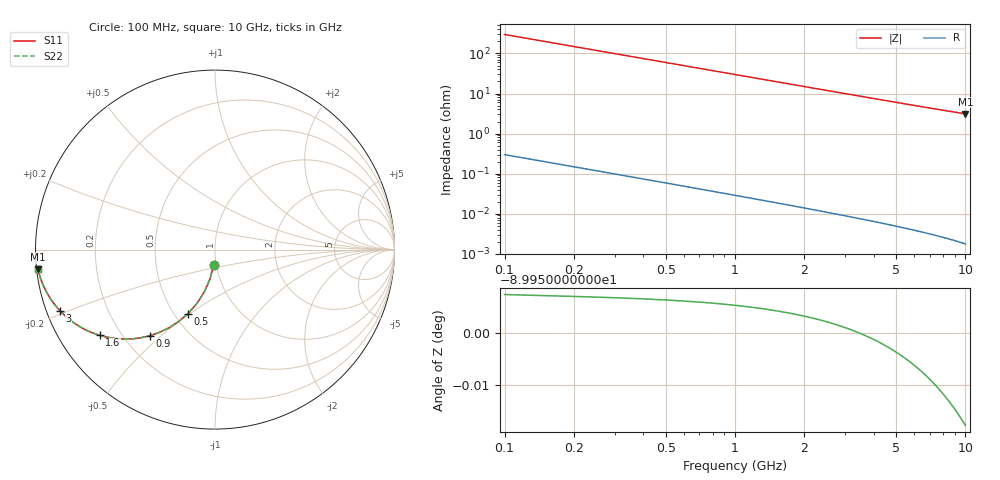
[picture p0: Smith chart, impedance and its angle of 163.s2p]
# Hz S RI R 50.00
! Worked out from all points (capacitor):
!   100 points, 100 MHz to 10 GHz, reference 50 ohm
!   read as one part in shunt: C = 5.34 pF near 100 MHz
!   lowest |Z| = 3.11 ohm at 10 GHz (marker M1)
!   S11 on the Smith chart (normalised r, x): 100 MHz: 0.97, -0.16; 500 MHz: 0.59, -0.49; 900 MHz: 0.31, -0.46; 1.6 GHz: 0.12, -0.33; 3 GHz: 0.04, -0.19; 10 GHz: 0.00, -0.06
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1e8  -0.00701 -0.0832  0.9929 -0.0833  0.9929 -0.0833  -0.00701 -0.0832
2e8  -0.0275 -0.163  0.9724 -0.1632  0.9724 -0.1632  -0.0275 -0.163
3e8  -0.0597 -0.2363  0.9402 -0.2367  0.9402 -0.2367  -0.0597 -0.2363
4e8  -0.1013 -0.3011  0.8985 -0.3016  0.8985 -0.3016  -0.1013 -0.3011
5e8  -0.1498 -0.356  0.8501 -0.3567  0.8501 -0.3567  -0.1498 -0.356
6e8  -0.2023 -0.4008  0.7976 -0.4016  0.7976 -0.4016  -0.2023 -0.4008
7e8  -0.2565 -0.4358  0.7434 -0.4367  0.7434 -0.4367  -0.2565 -0.4358
9e8  -0.3631 -0.4798  0.6368 -0.481  0.6368 -0.481  -0.3631 -0.4798
1.2e9  -0.5032 -0.4987  0.4967 -0.5003  0.4967 -0.5003  -0.5032 -0.4987
1.4e9  -0.5795 -0.4922  0.4203 -0.4941  0.4203 -0.4941  -0.5795 -0.4922
1.6e9  -0.6428 -0.4776  0.357 -0.4797  0.357 -0.4797  -0.6428 -0.4776
1.8e9  -0.6949 -0.4587  0.305 -0.4611  0.305 -0.4611  -0.6949 -0.4587
2e9  -0.7376 -0.438  0.2622 -0.4407  0.2622 -0.4407  -0.7376 -0.438
2.3e9  -0.788 -0.4066  0.2118 -0.4097  0.2118 -0.4097  -0.788 -0.4066
2.6e9  -0.8261 -0.3767  0.1738 -0.3802  0.1738 -0.3802  -0.8261 -0.3767
3e9  -0.8635 -0.3407  0.1364 -0.3448  0.1364 -0.3448  -0.8635 -0.3407
3.4e9  -0.8904 -0.3095  0.1095 -0.3141  0.1095 -0.3141  -0.8904 -0.3095
4.2e9  -0.9254 -0.2593  0.0745 -0.2649  0.0745 -0.2649  -0.9254 -0.2593
5.1e9  -0.9482 -0.2175  0.0516 -0.2244  0.0516 -0.2244  -0.9482 -0.2175
6.7e9  -0.9694 -0.1669  0.0304 -0.176  0.0304 -0.176  -0.9694 -0.1669
8.4e9  -0.9804 -0.132  0.0194 -0.1435  0.0194 -0.1435  -0.9804 -0.132
1e10  -0.9861 -0.1089  0.0136 -0.1228  0.0136 -0.1228  -0.9861 -0.1089
